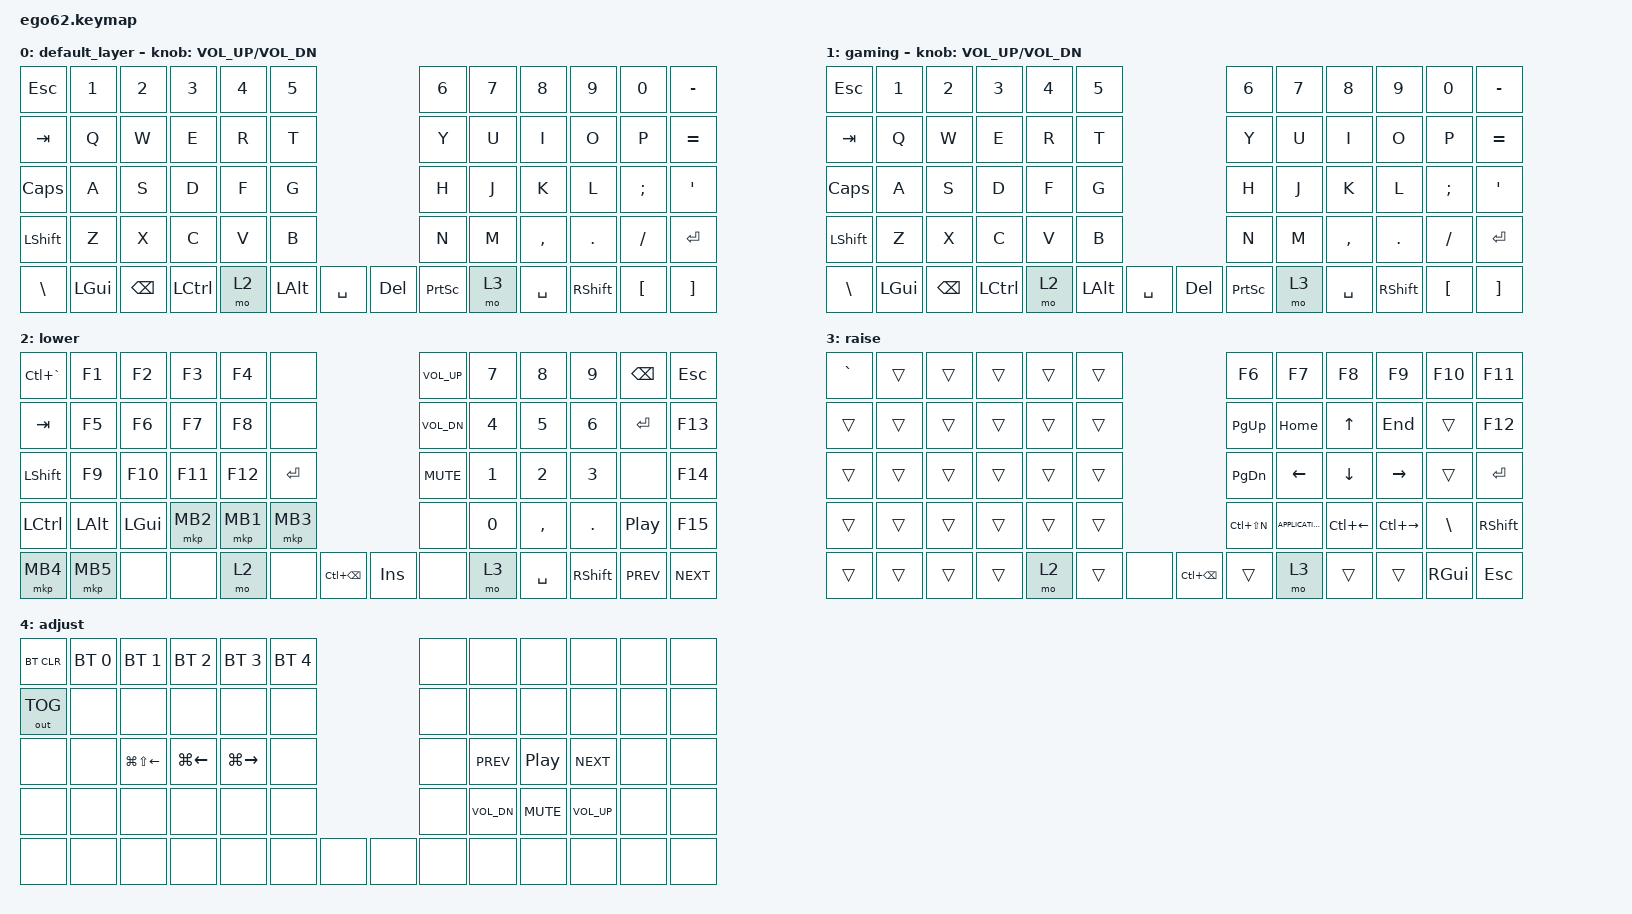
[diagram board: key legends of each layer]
/*
 * Copyright (c) 2020 The ZMK Contributors
 *
 * SPDX-License-Identifier: MIT
 */

#include <behaviors.dtsi>
#include <dt-bindings/zmk/bt.h>
#include <dt-bindings/zmk/keys.h>
#include <dt-bindings/zmk/mouse.h>
#include <dt-bindings/zmk/outputs.h>

/ {
    keymap {
        compatible = "zmk,keymap";

        default_layer {
            bindings = <
&kp ESCAPE     &kp N1        &kp N2         &kp N3     &kp N4  &kp N5                               &kp N6           &kp N7  &kp N8     &kp N9     &kp N0         &kp MINUS
&kp TAB        &kp Q         &kp W          &kp E      &kp R   &kp T                                &kp Y            &kp U   &kp I      &kp O      &kp P          &kp EQUAL
&kp CAPSLOCK   &kp A         &kp S          &kp D      &kp F   &kp G                                &kp H            &kp J   &kp K      &kp L      &kp SEMICOLON  &kp SQT
&kp LSHFT      &kp Z         &kp X          &kp C      &kp V   &kp B                                &kp N            &kp M   &kp COMMA  &kp DOT    &kp FSLH       &kp ENTER
&kp BACKSLASH  &kp LEFT_GUI  &kp BACKSPACE  &kp LCTRL  &mo 2   &kp LEFT_ALT  &kp SPACE  &kp DELETE  &kp PRINTSCREEN  &mo 3   &kp SPACE  &kp RSHFT  &kp LBKT       &kp RBKT
            >;

            sensor-bindings = <&inc_dec_kp C_VOL_UP C_VOL_DN>;
        };

        gaming {
            bindings = <
&kp ESCAPE     &kp N1        &kp N2         &kp N3     &kp N4  &kp N5                               &kp N6           &kp N7  &kp N8     &kp N9     &kp N0         &kp MINUS
&kp TAB        &kp Q         &kp W          &kp E      &kp R   &kp T                                &kp Y            &kp U   &kp I      &kp O      &kp P          &kp EQUAL
&kp CAPSLOCK   &kp A         &kp S          &kp D      &kp F   &kp G                                &kp H            &kp J   &kp K      &kp L      &kp SEMICOLON  &kp SQT
&kp LSHFT      &kp Z         &kp X          &kp C      &kp V   &kp B                                &kp N            &kp M   &kp COMMA  &kp DOT    &kp FSLH       &kp ENTER
&kp BACKSLASH  &kp LEFT_GUI  &kp BACKSPACE  &kp LCTRL  &mo 2   &kp LEFT_ALT  &kp SPACE  &kp DELETE  &kp PRINTSCREEN  &mo 3   &kp SPACE  &kp RSHFT  &kp LBKT       &kp RBKT
            >;

            sensor-bindings = <&inc_dec_kp C_VOL_UP C_VOL_DN>;
        };

        lower {
            bindings = <
&kp LC(GRAVE)  &kp F1    &kp F2    &kp F3    &kp F4    &none                                     &kp C_VOLUME_UP  &kp N7  &kp N8     &kp N9           &kp BSPC    &kp ESC
&kp TAB        &kp F5    &kp F6    &kp F7    &kp F8    &none                                     &kp C_VOL_DN     &kp N4  &kp N5     &kp N6           &kp ENTER   &kp F13
&kp LSHFT      &kp F9    &kp F10   &kp F11   &kp F12   &kp ENTER                                 &kp C_MUTE       &kp N1  &kp N2     &kp N3           &none       &kp F14
&kp LCTRL      &kp LALT  &kp LGUI  &mkp MB2  &mkp MB1  &mkp MB3                                  &none            &kp N0  &kp COMMA  &kp DOT          &kp C_PP    &kp F15
&mkp MB4       &mkp MB5  &none     &none     &mo 2     &none      &kp LC(BACKSPACE)  &kp INSERT  &none            &mo 3   &kp SPACE  &kp RIGHT_SHIFT  &kp C_PREV  &kp C_NEXT
            >;
        };

        raise {
            bindings = <
&kp GRAVE  &trans  &trans  &trans  &trans  &trans                            &kp F6         &kp F7             &kp F8          &kp F9           &kp F10        &kp F11
&trans     &trans  &trans  &trans  &trans  &trans                            &kp PAGE_UP    &kp HOME           &kp UP_ARROW    &kp END          &trans         &kp F12
&trans     &trans  &trans  &trans  &trans  &trans                            &kp PAGE_DOWN  &kp LEFT_ARROW     &kp DOWN_ARROW  &kp RIGHT_ARROW  &trans         &kp ENTER
&trans     &trans  &trans  &trans  &trans  &trans                            &kp LC(LS(N))  &kp K_APPLICATION  &kp LC(LEFT)    &kp LC(RIGHT)    &kp BACKSLASH  &kp RSHFT
&trans     &trans  &trans  &trans  &mo 2   &trans  &none  &kp LC(BACKSPACE)  &trans         &mo 3              &trans          &trans           &kp RGUI       &kp ESC
            >;
        };

        adjust {
            bindings = <
&bt BT_CLR    &bt BT_SEL 0  &bt BT_SEL 1            &bt BT_SEL 2        &bt BT_SEL 3         &bt BT_SEL 4                &none  &none         &none       &none         &none  &none
&out OUT_TOG  &none         &none                   &none               &none                &none                       &none  &none         &none       &none         &none  &none
&none         &none         &kp LG(LS(LEFT_ARROW))  &kp LG(LEFT_ARROW)  &kp LG(RIGHT_ARROW)  &none                       &none  &kp C_PREV    &kp C_PP    &kp C_NEXT    &none  &none
&none         &none         &none                   &none               &none                &none                       &none  &kp C_VOL_DN  &kp C_MUTE  &kp C_VOL_UP  &none  &none
&none         &none         &none                   &none               &none                &none         &none  &none  &none  &none         &none       &none         &none  &none
            >;
        };
    };

    conditional_layers {
        compatible = "zmk,conditional-layers";

        layer3activate {
            if-layers = <2 3>;
            then-layer = <4>;
        };
    };
};
